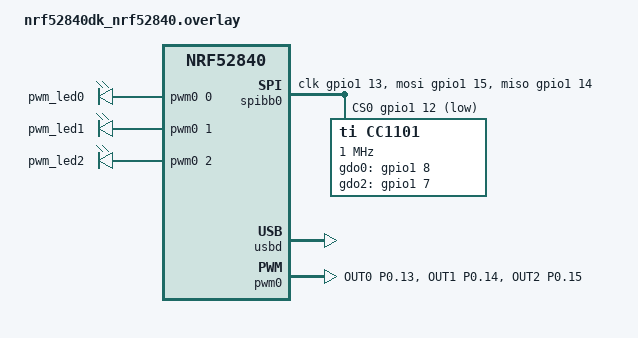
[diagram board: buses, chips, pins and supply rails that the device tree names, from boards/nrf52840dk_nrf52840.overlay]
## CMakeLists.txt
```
#
# SPDX-FileCopyrightText: Copyright 2023 Andreas Sandberg <andreas@sandberg.uk>
#
# SPDX-License-Identifier: Apache-2.0
#

cmake_minimum_required(VERSION 3.13.1)
find_package(Zephyr REQUIRED HINTS $ENV{ZEPHYR_BASE})

project(rfchameleon LANGUAGES C VERSION 0.1.0)

target_include_directories(app PRIVATE ${CMAKE_BINARY_DIR}/rfchameleon/include)
configure_file(version.h.in ${CMAKE_BINARY_DIR}/rfchameleon/include/rfchameleon/version.h)

add_subdirectory(src)
```

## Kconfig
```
#
# SPDX-FileCopyrightText: Copyright 2023 Andreas Sandberg <andreas@sandberg.uk>
#
# SPDX-License-Identifier: Apache-2.0
#

mainmenu "RF Chameleon options"

menu "RF Chameleon"

module = RFCH
module-str = RF Chameleon
source "subsys/logging/Kconfig.template.log_config"

rsource "src/Kconfig"

endmenu

menu "Zephyr"
source "Kconfig.zephyr"
endmenu
```

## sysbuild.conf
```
#
# SPDX-FileCopyrightText: Copyright 2023 Andreas Sandberg <andreas@sandberg.uk>
#
# SPDX-License-Identifier: Apache-2.0
#

SB_CONFIG_BOOTLOADER_MCUBOOT=y
SB_CONFIG_BOOT_SIGNATURE_TYPE_NONE=y
```

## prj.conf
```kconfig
#
# SPDX-FileCopyrightText: Copyright 2023 Andreas Sandberg <andreas@sandberg.uk>
#
# SPDX-License-Identifier: Apache-2.0
#

CONFIG_GPIO=y

CONFIG_LOG=y

CONFIG_SPI=y
CONFIG_LED=y

CONFIG_REBOOT=y

CONFIG_USB_DEVICE_STACK=y
CONFIG_USB_WORKQUEUE=y

CONFIG_USB_DEVICE_VID=0x1209
CONFIG_USB_DEVICE_PID=0x5F00
CONFIG_USB_DEVICE_MANUFACTURER="andreas.sandberg.uk"
CONFIG_USB_DEVICE_PRODUCT="RF Chameleon"
CONFIG_USB_SELF_POWERED=n
```

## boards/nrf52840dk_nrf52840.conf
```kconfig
#
# SPDX-FileCopyrightText: Copyright 2023 Andreas Sandberg <andreas@sandberg.uk>
#
# SPDX-License-Identifier: Apache-2.0
#

CONFIG_USB_NRFX=y
CONFIG_LOG_BACKEND_UART=n

CONFIG_SHELL=y

CONFIG_USB_COMPOSITE_DEVICE=y
CONFIG_USB_CDC_ACM=y

CONFIG_RFCH_CC1101=y
```

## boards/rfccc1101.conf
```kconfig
#
# SPDX-FileCopyrightText: Copyright 2023 Andreas Sandberg <andreas@sandberg.uk>
#
# SPDX-License-Identifier: Apache-2.0
#

CONFIG_PWM=y

CONFIG_LOG_BACKEND_SWO=y
CONFIG_LOG_BACKEND_UART=y

CONFIG_CONSOLE=y
CONFIG_UART_CONSOLE=y
CONFIG_SHELL=y
CONFIG_SHELL_BACKEND_SERIAL=y

CONFIG_USB_MAX_POWER=150

CONFIG_RETAINED_MEM=y
CONFIG_RETENTION=y
CONFIG_RETENTION_BOOT_MODE=y

CONFIG_MCUBOOT_BOOTLOADER_MODE_SINGLE_APP=y
CONFIG_RETENTION_BOOTLOADER_INFO=y
CONFIG_RETENTION_BOOTLOADER_INFO_TYPE_MCUBOOT=y
```

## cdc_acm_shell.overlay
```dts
/*
 * SPDX-FileCopyrightText: Copyright 2023 Andreas Sandberg <andreas@sandberg.uk>
 *
 * SPDX-License-Identifier: Apache-2.0
 */

/ {
	chosen {
		zephyr,console = &cdc_acm_uart;
		zephyr,shell-uart = &cdc_acm_uart;
	};
};

zephyr_udc0: &usbotg_fs {
	status = "okay";

	cdc_acm_uart: cdc_acm_uart {
		compatible = "zephyr,cdc-acm-uart";
		status = "okay";
	};
};
```

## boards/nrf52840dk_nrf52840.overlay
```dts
/*
 * SPDX-FileCopyrightText: Copyright 2023 Andreas Sandberg <andreas@sandberg.uk>
 *
 * SPDX-License-Identifier: Apache-2.0
 */

#define LED_PWM_PERIOD PWM_MSEC(20)

/delete-node/ &pwm_led0;

/ {
	chosen {
		rfmq,uart = &cdc_acm_uart;
	};

	aliases {
		led-status = &led_status;
		led-rx = &led_rx;
		led-tx = &led_tx;
	};

	led_status: pwm_led0 {
		compatible = "pwm-leds";
		status = "okay";

		pwm_led0: pwm_led_0 {
			pwms = <&pwm0 0 LED_PWM_PERIOD PWM_POLARITY_INVERTED>;
		};
	};

	led_rx: pwm_led1 {
		compatible = "pwm-leds";
		status = "okay";

		pwm_led1: pwm_led_1 {
			pwms = <&pwm0 1 LED_PWM_PERIOD PWM_POLARITY_INVERTED>;
		};
	};

	led_tx: pwm_led2 {
		compatible = "pwm-leds";
		status = "okay";

		pwm_led2: pwm_led_2 {
			pwms = <&pwm0 2 LED_PWM_PERIOD PWM_POLARITY_INVERTED>;
		};
	};
};

&usbd {
	status = "okay";

	cdc_acm_uart: cdc_acm_uart {
		compatible = "zephyr,cdc-acm-uart";
	};
};

&pinctrl {
	pwm0_leds_default: pwm0_led1_default {
		group1 {
			psels = <NRF_PSEL(PWM_OUT0, 0, 13)>,
			        <NRF_PSEL(PWM_OUT1, 0, 14)>,
			        <NRF_PSEL(PWM_OUT2, 0, 15)>;
			nordic,invert;
		};
	};

	pwm0_leds_sleep: pwm0_led1_sleep {
		group1 {
			psels = <NRF_PSEL(PWM_OUT0, 0, 13)>,
			        <NRF_PSEL(PWM_OUT1, 0, 14)>,
			        <NRF_PSEL(PWM_OUT2, 0, 15)>;
			low-power-enable;
		};
	};

	spi3_x_default: spi3_x_default {
		group1 {
			psels = <NRF_PSEL(SPIM_SCK, 1, 13)>,
			<NRF_PSEL(SPIM_MISO, 1, 14)>,
			<NRF_PSEL(SPIM_MOSI, 1, 15)>;
		};
	};

	spi3_x_sleep: spi3_x_sleep {
		group1 {
			psels = <NRF_PSEL(SPIM_SCK, 1, 13)>,
			<NRF_PSEL(SPIM_MISO, 1, 14)>,
			<NRF_PSEL(SPIM_MOSI, 1, 15)>;
			low-power-enable;
		};
	};
};

&pwm0 {
	status = "okay";
	pinctrl-0 = <&pwm0_leds_default>;
	pinctrl-1 = <&pwm0_leds_sleep>;
	pinctrl-names = "default", "sleep";
};

&spi3 {
	status = "disabled";
};

&spi2 {
	status = "disabled";

	pinctrl-0 = <&spi3_x_default>;
	pinctrl-1 = <&spi3_x_sleep>;
	pinctrl-names = "default", "sleep";
};

/ {
	spibb0: spibb0 {
		compatible = "zephyr,spi-bitbang";
		status = "okay";
		#address-cells = <1>;
		#size-cells = <0>;
		clk-gpios = <&gpio1 13 GPIO_ACTIVE_HIGH>;
		miso-gpios = <&gpio1 14 0>;
		mosi-gpios = <&gpio1 15 GPIO_ACTIVE_HIGH>;
	};
};

&spibb0 {
	cs-gpios = <&gpio1 12 GPIO_ACTIVE_LOW>;

	cc1101: cc1101@0 {
		compatible = "ti,cc1101";

		spi-max-frequency = <1000000>;
		reg = <0>;

		gdo0-gpios = <&gpio1 8 GPIO_ACTIVE_HIGH>;
		gdo2-gpios = <&gpio1 7 GPIO_ACTIVE_HIGH>;

		pktlen = <0xff>;

		/*
		 * RF Chameleon Chat
		 *
		 * Base freq: 868.1MHz (50.0 kHz channel spacing)
		 * Modulation: GFSK, 38.4 kb/s, 20.6 kHz deviation, whitening
		 */
		rf_cfg = [
			29 /* IOCFG2 (0x0000) */
			2E /* IOCFG1 (0x0001) */
			06 /* IOCFG0 (0x0002) */
			47 /* FIFOTHR (0x0003) */
			5f /* SYNC1 (0x0004) */
			ca /* SYNC0 (0x0005) */
			FF /* PKTLEN (0x0006) */
			04 /* PKTCTRL1 (0x0007) */
			45 /* PKTCTRL0 (0x0008) */
			00 /* ADDR (0x0009) */
			00 /* CHANNR (0x000A) */
			06 /* FSCTRL1 (0x000B) */
			00 /* FSCTRL0 (0x000C) */
			21 /* FREQ2 (0x000D) */
			63 /* FREQ1 (0x000E) */
			72 /* FREQ0 (0x000F) */
			CA /* MDMCFG4 (0x0010) */
			83 /* MDMCFG3 (0x0011) */
			17 /* MDMCFG2 (0x0012) */
			00 /* MDMCFG1 (0x0013) */
			F8 /* MDMCFG0 (0x0014) */
			35 /* DEVIATN (0x0015) */
			07 /* MCSM2 (0x0016) */
			30 /* MCSM1 (0x0017) */
			18 /* MCSM0 (0x0018) */
			16 /* FOCCFG (0x0019) */
			6C /* BSCFG (0x001A) */
			43 /* AGCCTRL2 (0x001B) */
			40 /* AGCCTRL1 (0x001C) */
			91 /* AGCCTRL0 (0x001D) */
			87 /* WOREVT1 (0x001E) */
			6B /* WOREVT0 (0x001F) */
			FB /* WORCTRL (0x0020) */
			56 /* FREND1 (0x0021) */
			10 /* FREND0 (0x0022) */
		];

		/* -6 dBm @ 868MHz, no ramping */
		patable = [ 37 ];
	};
};
```

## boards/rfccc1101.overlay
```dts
/*
 * SPDX-FileCopyrightText: Copyright 2023 Andreas Sandberg <andreas@sandberg.uk>
 *
 * SPDX-License-Identifier: Apache-2.0
 */

/ {
	aliases {
		led-status = &pwm_led_status;
		led-rx = &pwm_led_rx;
		led-tx = &pwm_led_tx;
	};


	zephyr,user {
		led-brightness = <20>;
	};
};

&led_status {
	status = "disabled";
};

&led_rx {
	status = "disabled";
};

&led_tx {
	status = "disabled";
};

&pwm_led_status {
	status = "okay";
};

&pwm_led_rx {
	status = "okay";
};

&pwm_led_tx {
	status = "okay";
};

&pwm2 {
	status = "okay";
};

&pwm3 {
	status = "okay";
};

&pwm4 {
	status = "okay";
};

&cc1101 {
	status = "okay";

	pktlen = <0x14>;

	/*
	 * RF Chameleon Chat
	 *
	 * Base freq: 868.1MHz (50.0 kHz channel spacing)
	 * Modulation: GFSK, 38.4 kb/s, 20.6 kHz deviation, whitening
	 */
	rf_cfg = [
		29 /* IOCFG2 (0x0000) */
		2E /* IOCFG1 (0x0001) */
		06 /* IOCFG0 (0x0002) */
		47 /* FIFOTHR (0x0003) */
		5f /* SYNC1 (0x0004) */
		ca /* SYNC0 (0x0005) */
		FF /* PKTLEN (0x0006) */
		04 /* PKTCTRL1 (0x0007) */
		45 /* PKTCTRL0 (0x0008) */
		00 /* ADDR (0x0009) */
		00 /* CHANNR (0x000A) */
		06 /* FSCTRL1 (0x000B) */
		00 /* FSCTRL0 (0x000C) */
		21 /* FREQ2 (0x000D) */
		63 /* FREQ1 (0x000E) */
		72 /* FREQ0 (0x000F) */
		CA /* MDMCFG4 (0x0010) */
		83 /* MDMCFG3 (0x0011) */
		17 /* MDMCFG2 (0x0012) */
		00 /* MDMCFG1 (0x0013) */
		F8 /* MDMCFG0 (0x0014) */
		35 /* DEVIATN (0x0015) */
		07 /* MCSM2 (0x0016) */
		32 /* MCSM1 (0x0017) */
		18 /* MCSM0 (0x0018) */
		16 /* FOCCFG (0x0019) */
		6C /* BSCFG (0x001A) */
		43 /* AGCCTRL2 (0x001B) */
		40 /* AGCCTRL1 (0x001C) */
		91 /* AGCCTRL0 (0x001D) */
		87 /* WOREVT1 (0x001E) */
		6B /* WOREVT0 (0x001F) */
		FB /* WORCTRL (0x0020) */
		56 /* FREND1 (0x0021) */
		10 /* FREND0 (0x0022) */
	];

	/* -6 dBm @ 868MHz, no ramping */
	patable = [ 37 ];
};
```

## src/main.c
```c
/*
 * SPDX-FileCopyrightText: Copyright 2023 Andreas Sandberg <andreas@sandberg.uk>
 *
 * SPDX-License-Identifier: Apache-2.0
 */

#include <zephyr/kernel.h>
#include <zephyr/logging/log.h>

#include "rfchameleon/version.h"

#if IS_ENABLED(CONFIG_RFCH_TRANSPORT_USB)
#include "gadget.h"
#endif

LOG_MODULE_REGISTER(main, CONFIG_RFCH_LOG_LEVEL);

int main()
{
	int ret;

#if IS_ENABLED(CONFIG_RFCH_TRANSPORT_USB)
	LOG_INF("Starting gadget interface...");
	ret = gadget_start();
	if (ret != 0) {
		LOG_ERR("Failed to start USB gadget interface: %d", ret);
	}
#endif

	LOG_INF("RF Chameleon " RFCHAMELEON_VERSION_STR
		" started on " CONFIG_ARCH);

	return 0;
}
```

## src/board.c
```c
/*
 * SPDX-FileCopyrightText: Copyright 2023-2024 Andreas Sandberg <andreas@sandberg.uk>
 *
 * SPDX-License-Identifier: Apache-2.0
 */

#include "board.h"

#include <stdlib.h>

#include <zephyr/device.h>
#include <zephyr/drivers/gpio.h>
#include <zephyr/drivers/led.h>
#include <zephyr/shell/shell.h>
#include <zephyr/logging/log_ctrl.h>
#include <zephyr/logging/log.h>

#if IS_ENABLED(CONFIG_RETENTION_BOOTLOADER_INFO_OUTPUT_FUNCTION)
#include <zephyr/retention/blinfo.h>
#include <bootutil/image.h>
#endif

#include "rfchameleon/version.h"

LOG_MODULE_REGISTER(board, CONFIG_RFCH_LOG_LEVEL);

#include "stm32_bootloader.h"

enum board_led_color {
	BOARD_LED_COLOR_MONO = 0,

	BOARD_LED_COLOR_RED = BOARD_LED_COLOR_MONO,
	BOARD_LED_COLOR_GREEN,
	BOARD_LED_COLOR_BLUE,

	BOARD_LED_COLOR_MAX = BOARD_LED_COLOR_BLUE,
};

struct board_led {
	const struct device *dev;
	int colors;
};

static struct board_led led_status = {
	.dev = DEVICE_DT_GET(DT_ALIAS(led_status)),
};

static struct board_led led_rx = {
	.dev = DEVICE_DT_GET(DT_ALIAS(led_rx)),
};

static struct board_led led_tx = {
	.dev = DEVICE_DT_GET(DT_ALIAS(led_tx)),
};

static const struct gpio_dt_spec gpio_variant[] = {
#if DT_NODE_EXISTS(DT_NODELABEL(sw_variant0))
	GPIO_DT_SPEC_GET(DT_NODELABEL(sw_variant0), gpios),
#endif
#if DT_NODE_EXISTS(DT_NODELABEL(sw_variant1))
	GPIO_DT_SPEC_GET(DT_NODELABEL(sw_variant1), gpios),
#endif
};

static uint8_t board_led_brightness =
	DT_PROP_OR(DT_PATH(zephyr_user), led_brightness, 100);
static uint32_t board_variant = 0;

static enum board_usb_state board_usb_state = BOARD_USB_STATE_DISCONNECTED;
static enum board_radio_state board_radio_state = BOARD_RADIO_STATE_IDLE;

static int board_usb_toggle = 0;
static int board_packet_toggle = 0;
static int board_packet_error = 0;

static int board_init_led(struct board_led *led)
{
	if (!device_is_ready(led->dev)) {
		return -ENODEV;
	}

	for (uint32_t i = 0; i <= BOARD_LED_COLOR_MAX; i++) {
		if (led_off(led->dev, i) != 0) {
			led->colors = i;
			return led->colors;
		}
	}
	led->colors = BOARD_LED_COLOR_MAX + 1;
	return led->colors;
}

static void board_test_led(const struct board_led *led)
{
	for (int i = 0; i < led->colors; i++) {
		for (int j = 0; j <= 100; j += 10) {
			led_set_brightness(led->dev, i, j);
			k_sleep(K_MSEC(5));
		}
		for (int j = 100; j >= 0; j -= 10) {
			led_set_brightness(led->dev, i, j);
			k_sleep(K_MSEC(5));
		}
		led_off(led->dev, i);
	}
}

static void board_led_on(const struct board_led *led,
			 enum board_led_color color)
{
	if (color >= led->colors)
		return;

	led_set_brightness(led->dev, color, board_led_brightness);
}

static void board_led_off(const struct board_led *led)
{
	for (uint32_t i = 0; i <= led->colors; i++) {
		led_off(led->dev, i);
	}
}

static void board_leds_off()
{
	board_led_off(&led_status);
	board_led_off(&led_rx);
	board_led_off(&led_tx);
}

static void board_set_error(enum board_error_codes error)
{
	board_leds_off();

	if (error & 1) {
		board_led_on(&led_tx, BOARD_LED_COLOR_MONO);
	}

	if (error & 2) {
		board_led_on(&led_rx, BOARD_LED_COLOR_MONO);
	}
}

static int board_test_quick()
{
	board_test_led(&led_status);
	board_test_led(&led_rx);
	board_test_led(&led_tx);

	return 0;
}

static void board_update_leds_rgb()
{
	enum board_led_color usb_led_color =
		board_usb_toggle ? BOARD_LED_COLOR_BLUE : BOARD_LED_COLOR_GREEN;
	enum board_led_color rf_led_color = (
		board_packet_error ? BOARD_LED_COLOR_RED :
		(board_packet_toggle ?
		 BOARD_LED_COLOR_BLUE : BOARD_LED_COLOR_GREEN));

	board_led_off(&led_status);
	board_led_off(&led_rx);
	board_led_off(&led_tx);

	switch (board_usb_state) {
	case BOARD_USB_STATE_DISCONNECTED:
		break;

	case BOARD_USB_STATE_CONNECTED:
	case BOARD_USB_STATE_DRIVER:
		board_led_on(&led_status, usb_led_color);
		break;

	default:
		LOG_ERR("Invalid USB state: %i", board_usb_state);
		abort();
	}

	switch (board_radio_state) {
	case BOARD_RADIO_STATE_IDLE:
		break;

	case BOARD_RADIO_STATE_RX:
		board_led_on(&led_rx, rf_led_color);
		break;

	case BOARD_RADIO_STATE_TX:
		board_led_on(&led_tx, rf_led_color);
		break;

	case BOARD_RADIO_STATE_ERROR:
		board_led_on(&led_tx, BOARD_LED_COLOR_RED);
		board_led_on(&led_rx, BOARD_LED_COLOR_RED);
		break;

	default:
		LOG_ERR("Invalid radio state: %i", board_usb_state);
		abort();
	};
}

static void board_update_leds_mono()
{
	switch (board_usb_state) {
	case BOARD_USB_STATE_DISCONNECTED:
		board_led_off(&led_status);
		break;

	case BOARD_USB_STATE_CONNECTED:
	case BOARD_USB_STATE_DRIVER:
		board_led_on(&led_status, BOARD_LED_COLOR_MONO);
		break;

	default:
		LOG_ERR("Invalid USB state: %i", board_usb_state);
		abort();
	}

	switch (board_radio_state) {
	case BOARD_RADIO_STATE_IDLE:
		board_led_off(&led_rx);
		board_led_off(&led_tx);
		break;

	case BOARD_RADIO_STATE_RX:
		board_led_on(&led_rx, BOARD_LED_COLOR_MONO);
		board_led_off(&led_tx);
		break;

	case BOARD_RADIO_STATE_TX:
		board_led_off(&led_rx);
		board_led_on(&led_tx, BOARD_LED_COLOR_MONO);
		break;

	case BOARD_RADIO_STATE_ERROR:
		board_led_on(&led_rx, BOARD_LED_COLOR_MONO);
		board_led_on(&led_tx, BOARD_LED_COLOR_MONO);
		break;

	default:
		LOG_ERR("Invalid radio state: %i", board_usb_state);
		abort();
	};
}

static void board_update_leds()
{
	if (led_status.colors == 3 ||
	    led_rx.colors == 3 ||
	    led_tx.colors == 3) {
		board_update_leds_rgb();
	} else {
		board_update_leds_mono();
	}
}

static int board_update_variant()
{
	int rc;
	uint32_t value = 0;

	for (int i = 0; i < ARRAY_SIZE(gpio_variant); i++) {
		if (!gpio_is_ready_dt(&gpio_variant[i])) {
			LOG_ERR("Variant %i: GPIO not ready.", i);
			return -EINVAL;
		}

		rc = gpio_pin_configure_dt(&gpio_variant[i], GPIO_INPUT);
		if (rc < 0) {
			LOG_ERR("Variant %i: Failed to configure as input: %i",
				i, rc);
			return -EINVAL;
		}

		rc = gpio_pin_get_dt(&gpio_variant[i]);
		if (rc < 0) {
			LOG_ERR("Variant %i: Failed to get value: %i", i, rc);
			return -EINVAL;
		}

		if (rc)
			value |= BIT(i);

		rc = gpio_pin_configure_dt(&gpio_variant[i], GPIO_DISCONNECTED);
		if (rc < 0) {
			LOG_WRN("Variant %i: Failed to disconnect GPIO: %i",
				i, rc);
		}
	}

	board_variant = value;

	return 0;
}

void board_set_radio_state(enum board_radio_state state)
{
	board_radio_state = state;
	board_packet_error = 0;
	board_packet_toggle = 0;
	board_update_leds();
}

void board_radio_packet()
{
	board_packet_error = 0;
	board_packet_toggle = !board_packet_toggle;
	board_update_leds();
}

void board_radio_packet_error()
{
	board_packet_toggle = 0;
	board_packet_error = 1;
	board_update_leds();
}

void board_set_usb_state(enum board_usb_state state)
{
	board_usb_toggle = 0;
	board_usb_state = state;
	board_update_leds();
}

void board_usb_activity()
{
	board_usb_toggle = !board_usb_toggle;
	board_update_leds();
}

#if BOARD_HAVE_ROM_BOOTLOADER
FUNC_NORETURN void board_enter_rom_bootloader()
{
	stm32_reboot_bootloader();
}
#endif

void k_sys_fatal_error_handler(unsigned int reason, const z_arch_esf_t *esf)
{
	LOG_PANIC();
	LOG_ERR("Halting system");

	board_set_error(BOARD_ERROR_PANIC);

	while (1) {
		led_on(led_status.dev, 0);
		k_busy_wait(500000);
		led_off(led_status.dev, 0);
		k_busy_wait(500000);
	}
}

static int board_init()
{
	if (board_init_led(&led_status) < 0) {
		LOG_WRN("Status LED not ready.");
	}

	if (board_init_led(&led_rx) < 0) {
		LOG_WRN("RX LED not ready.");
	}

	if (board_init_led(&led_tx) < 0) {
		LOG_WRN("TX LED not ready.");
	}

	if (board_update_variant() < 0) {
		LOG_WRN("Failed to get board variant information.");
	} else {
		LOG_INF("Board variant: 0x%" PRIx32, board_variant);
	}

	board_test_quick();

	return 0;
}

SYS_INIT(board_init, APPLICATION, 0);

#if IS_ENABLED(CONFIG_SHELL)
static int cmd_board_test(const struct shell *sh, size_t argc, char **argv)
{
	return board_test_quick();
}

#if IS_ENABLED(CONFIG_RETENTION_BOOTLOADER_INFO_OUTPUT_FUNCTION)
static void print_bootloader_info(const struct shell *sh)
{
	struct image_version version;
	int rc;
	memset(&version, 0, sizeof(version));
	rc = blinfo_lookup(BLINFO_BOOTLOADER_VERSION,
			   (void *)&version, sizeof(version));
	if (rc != sizeof(version)) {
		shell_print(sh, "Failed to get boot loader version: %i",
			    rc);
	} else {
		shell_print(sh, "Bootloader version: %i.%i.%i build %i\n",
			    (int)version.iv_major,
			    (int)version.iv_minor,
			    (int)version.iv_revision,
			    (int)version.iv_build_num);
	}
}
#else
static void print_bootloader_info(const struct shell *sh)
{
}
#endif

static int cmd_board_info(const struct shell *sh, size_t argc, char **argv)
{
	static const char board_compatible[] = DT_PROP(DT_ROOT, compatible);

	shell_print(sh, "RF Chameleon " RFCHAMELEON_VERSION_STR);
	shell_print(sh, "Board type: %s", board_compatible);
	shell_print(sh, "Board variant bits: %i", ARRAY_SIZE(gpio_variant));
	shell_print(sh, "Board variant: 0x%" PRIx32, board_variant);

	print_bootloader_info(sh);

	return 0;
}

SHELL_STATIC_SUBCMD_SET_CREATE(sub_board,
	SHELL_CMD_ARG(test, NULL,
		      "Run board tests\n",
		      cmd_board_test,
		      0, 0),
	SHELL_CMD_ARG(info, NULL,
		      "Show board information\n",
		      cmd_board_info,
		      0, 0),
	SHELL_SUBCMD_SET_END
);

SHELL_CMD_REGISTER(board, &sub_board, "Board specific commands", NULL);

#endif
```

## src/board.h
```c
/*
 * SPDX-FileCopyrightText: Copyright 2023 Andreas Sandberg <andreas@sandberg.uk>
 *
 * SPDX-License-Identifier: Apache-2.0
 */

#ifndef RFCHAMELEON_BOARD_H_
#define RFCHAMELEON_BOARD_H_

#include <zephyr/kernel.h>

enum board_radio_state {
	BOARD_RADIO_STATE_IDLE = 0,
	BOARD_RADIO_STATE_RX,
	BOARD_RADIO_STATE_TX,
	BOARD_RADIO_STATE_ERROR,
};

enum board_usb_state {
	BOARD_USB_STATE_DISCONNECTED = 0,
	BOARD_USB_STATE_CONNECTED,
	BOARD_USB_STATE_DRIVER,
};

enum board_error_codes {
	BOARD_ERROR_PANIC = 0,
};

extern void board_set_radio_state(enum board_radio_state state);
extern void board_radio_packet();
extern void board_radio_packet_error();
extern void board_set_usb_state(enum board_usb_state state);
extern void board_usb_activity();

#endif /* RFCHAMELEON_GADGET_H_ */
```

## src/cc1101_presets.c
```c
/*
 * SPDX-FileCopyrightText: Copyright 2023-2024 Andreas Sandberg <andreas@sandberg.uk>
 *
 * SPDX-License-Identifier: Apache-2.0
 */

#include "cc1101_presets.h"

/*
 * RF Chameleon Chat
 *
 * Base freq: 868.1MHz (50.0 kHz channel spacing)
 * Modulation: GFSK, 38.4 kb/s, 20.6 kHz deviation, whitening
 *
 */
const struct cc1101_modem_config rfcfg_cc1101_rfch_chat = {
	.sync = {0x5f, 0xca},
	.pktlen = 0xff,
	.pktctrl = {0x04, 0x45},
	.addr = 0x00,
	.channr = 0x00,
	.fsctrl = {0x06, 0x00},
	.freq = {0x21, 0x63, 0x72},
	.mdmcfg = {0xca, 0x83, 0x17, 0x00, 0xf8 },
	.deviatn = 0x35,
};
```

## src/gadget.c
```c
/*
 * SPDX-FileCopyrightText: Copyright 2023-2024 Andreas Sandberg <andreas@sandberg.uk>
 *
 * SPDX-License-Identifier: Apache-2.0
 */

#include "gadget.h"

#include <zephyr/logging/log.h>
LOG_MODULE_REGISTER(gadget, CONFIG_RFCH_LOG_LEVEL);

#include <zephyr/kernel.h>
#include <zephyr/usb/usb_device.h>

#include <usb_descriptor.h>

#include "transport.h"

static enum usb_dc_status_code usb_status = USB_DC_UNKNOWN;

#define USB_BULK_MAX_PACKET_SIZE 64

#define RFCH_EP_IN_IDX 0

USBD_CLASS_DESCR_DEFINE(primary, 0) struct {
	struct usb_if_descriptor if0;
	struct usb_ep_descriptor if0_in_ep;
} __packed rfch_usb_desc = {
	.if0 = {
		.bLength = sizeof(struct usb_if_descriptor),
		.bDescriptorType = USB_DESC_INTERFACE,
		.bInterfaceNumber = 0,
		.bAlternateSetting = 0,
		.bNumEndpoints = 1,
		.bInterfaceClass = USB_BCC_VENDOR,
		.bInterfaceSubClass = 0,
		.bInterfaceProtocol = 0,
		.iInterface = 0,
	},
	.if0_in_ep = {
		.bLength = sizeof(struct usb_ep_descriptor),
		.bDescriptorType = USB_DESC_ENDPOINT,
		.bEndpointAddress = AUTO_EP_IN,
		.bmAttributes = USB_DC_EP_BULK,
		.wMaxPacketSize = sys_cpu_to_le16(USB_BULK_MAX_PACKET_SIZE),
		.bInterval = 0,
	},
};

static struct usb_ep_cfg_data rfch_usb_ep[] = {
	{ .ep_cb = usb_transfer_ep_callback, .ep_addr = AUTO_EP_IN },
};

static void rfch_usb_status_cb(struct usb_cfg_data *cfg,
			     enum usb_dc_status_code status,
			     const uint8_t *param)
{
	ARG_UNUSED(param);
	ARG_UNUSED(cfg);

	/* Check the USB status and do needed action if required */
	switch (status) {
	case USB_DC_ERROR:
		LOG_DBG("USB device error");
		break;
	case USB_DC_RESET:
		LOG_DBG("USB device reset detected");
		transport_reset();
		break;
	case USB_DC_CONNECTED:
		LOG_DBG("USB device connected");
		break;
	case USB_DC_CONFIGURED:
		LOG_DBG("USB device configured");
		transport_reset();
		break;
	case USB_DC_DISCONNECTED:
		LOG_DBG("USB device disconnected");
		break;
	case USB_DC_SUSPEND:
		LOG_DBG("USB device suspended");
		break;
	case USB_DC_RESUME:
		LOG_DBG("USB device resumed");
		break;
	case USB_DC_UNKNOWN:
	default:
		LOG_DBG("USB unknown state");
		break;
	}
}

static int rfch_usb_vendor_handle_to_host(struct usb_setup_packet *setup,
					  int32_t *len, uint8_t **data)
{
	const enum rfch_request req = setup->bRequest;
	const uint16_t value = setup->wValue;
	int ret;

	ret = transport_handle_get(req, value,
				   (const uint8_t **)data, setup->wLength);
	if (ret < 0)
		return ret;

	*len = ret;
	return 0;
}

static int rfch_usb_vendor_handle_to_dev(struct usb_setup_packet *setup,
					 int32_t *len, uint8_t **data)
{
	const enum rfch_request req = setup->bRequest;
	int ret;

	if (!data || !len)
		return -EINVAL;

	ret = transport_handle_set(req, sys_le16_to_cpu(setup->wValue),
				   *data, *len);

	return ret < 0 ? ret : 0;
}

/**
 * Vendor handler is executed in the ISR context
 */
static int rfch_usb_vendor_handler(struct usb_setup_packet *setup,
				 int32_t *len, uint8_t **data)
{
	LOG_DBG("Vendor request:"
		" bRequest: 0x%" PRIx8
		" bmRequestType: 0x%" PRIx8
		" wIndex: 0x%" PRIx16
		" wValue: 0x%" PRIx16,
		setup->bRequest, setup->bmRequestType,
		setup->wIndex, setup->wValue);

	if (setup->RequestType.recipient != USB_REQTYPE_RECIPIENT_INTERFACE) {
		return -ENOTSUP;
	}

	if (usb_reqtype_is_to_host(setup)) {
		return rfch_usb_vendor_handle_to_host(setup, len, data);
	} else {
		return rfch_usb_vendor_handle_to_dev(setup, len, data);
	}
}

USBD_DEFINE_CFG_DATA(rfch_usb_config) = {
	.usb_device_description = NULL,
	.interface_descriptor = &rfch_usb_desc.if0,
	.cb_usb_status = rfch_usb_status_cb,
	.interface = {
		.class_handler = NULL,
		.vendor_handler = rfch_usb_vendor_handler,
		.custom_handler = NULL,
	},
	.num_endpoints = ARRAY_SIZE(rfch_usb_ep),
	.endpoint = rfch_usb_ep,
};

static void status_cb(enum usb_dc_status_code status, const uint8_t *param)
{
	LOG_DBG("USB status change: %d -> %d", usb_status, status);
	usb_status = status;
}

int transport_impl_rx(const uint8_t *data, size_t size)
{
	uint8_t ep;

	ep = rfch_usb_config.endpoint[RFCH_EP_IN_IDX].ep_addr;

	return usb_transfer_sync(ep, (void *)data, size, USB_TRANS_WRITE);
}

int gadget_start()
{
	int ret;

	ret = transport_init();
	if (ret != 0) {
		LOG_ERR("Failed to initialize transport: %d", ret);
		return ret;
	}

	ret = usb_enable(status_cb);
	if (ret != 0) {
		LOG_ERR("Failed to enable USB: %d", ret);
		return ret;
	}

	LOG_DBG("usb initialized");

	return 0;
}
```

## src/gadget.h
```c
/*
 * SPDX-FileCopyrightText: Copyright 2023 Andreas Sandberg <andreas@sandberg.uk>
 *
 * SPDX-License-Identifier: Apache-2.0
 */

#ifndef RFCHAMELEON_GADGET_H_
#define RFCHAMELEON_GADGET_H_

#include <zephyr/kernel.h>
#include <zephyr/usb/usb_device.h>

#define RFCH_MAX_PACKET_SIZE (CONFIG_RFCH_CC1101_MAX_PKT_SIZE + 2)

struct rfch_packet {
	void *fifo_reserved;
	union {
		struct {
			uint8_t request;
			uint16_t value;
		} req;
		struct {
		} rx;
	} u;
	uint16_t length;
	uint8_t data[RFCH_MAX_PACKET_SIZE];
};

extern int gadget_start();

#endif /* RFCHAMELEON_GADGET_H_ */
```

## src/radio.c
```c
/*
 * SPDX-FileCopyrightText: Copyright 2023-2024 Andreas Sandberg <andreas@sandberg.uk>
 *
 * SPDX-License-Identifier: Apache-2.0
 */

#include "radio.h"

#include <zephyr/logging/log.h>

#include <radio/cc1101.h>

#include "board.h"
#include "uuids.h"
#include "cc1101_presets.h"
#include "transport.h"

LOG_MODULE_REGISTER(radio, CONFIG_RFCH_LOG_LEVEL);

struct radio_config {
	struct rfch_radio_preset preset;
	const struct cc1101_modem_config *cc1101;
};

static const struct device *dev_cc1101 =
	DEVICE_DT_GET(DT_COMPAT_GET_ANY_STATUS_OKAY(ti_cc1101));

static const struct radio_config radio_configs[] = {
	{
		/* RF Chameleon Chat */
		.preset = {
			.uuid = UUID_PRE_RFCH_CHAT,
			.packet_size = sys_cpu_to_le16(255),
			.rx_meta_size = 0x2,
		},
		.cc1101 = &rfcfg_cc1101_rfch_chat,
	},
};

static const struct radio_config *radio_active_config = NULL;
static enum rfch_radio_state radio_state = RFCH_RADIO_STATE_IDLE;

static void on_rx(const struct device *dev, const uint8_t *data, uint8_t size,
		  void *user)
{
	transport_on_radio_rx(data, size);
}

int radio_validate_preset(uint16_t index)
{
	const struct radio_config *config;

	if (index < 0 || index >= ARRAY_SIZE(radio_configs)) {
		LOG_ERR("Invalid radio preset: %d", index);
		return -EINVAL;
	}

	config = &radio_configs[index];
	if (!config->cc1101) {
		LOG_ERR("Radio preset has invalid CC1101 config: %d",
			index);
		return -EINVAL;
	}

	return 0;
}

int radio_get_active_preset()
{
	if (radio_active_config)
		return radio_active_config - radio_configs;

	return -EINVAL;
}

int radio_set_active_preset(uint16_t index)
{
	const struct radio_config *config;
	int ret;

	ret = radio_validate_preset(index);
	if (ret < 0) {
		return ret;
	}

	config = &radio_configs[index];

	LOG_INF("Activating radio preset %d", index);
	ret = cc1101_set_modem_config(dev_cc1101, config->cc1101);
	if (ret < 0) {
		LOG_ERR("Failed to set radio modem config: %d", ret);
		radio_active_config = NULL;
		return ret;
	}

	radio_active_config = config;

	return 0;
}

int radio_get_preset(uint16_t index, const uint8_t **data)
{
	const struct radio_config *config;

	if (!data)
		return -EINVAL;

	if (index >= ARRAY_SIZE(radio_configs))
		return -ENOTSUP;

	config = &radio_configs[index];
	*data = (const uint8_t *)&config->preset;

	return sizeof(config->preset);
}

int radio_get_state()
{
	return radio_state;
}

int _radio_set_state(enum rfch_radio_state state)
{
	int ret;

	radio_state = state;

	switch (state) {
	case RFCH_RADIO_STATE_IDLE:
		ret = cc1101_set_state(dev_cc1101, CC1101_STATE_IDLE);
		if (ret < 0) {
			LOG_WRN("Failed to enter IDLE state: %d", ret);
			_radio_set_state(RFCH_RADIO_STATE_ERROR);
		} else {
			board_set_radio_state(BOARD_RADIO_STATE_IDLE);
		}
		return ret;

	case RFCH_RADIO_STATE_RX:
		ret = cc1101_set_state(dev_cc1101, CC1101_STATE_RX);
		if (ret < 0) {
			LOG_WRN("Failed to enter RX state: %d", ret);
			_radio_set_state(RFCH_RADIO_STATE_ERROR);
		} else {
			board_set_radio_state(BOARD_RADIO_STATE_RX);
		}
		return ret;

	case RFCH_RADIO_STATE_TX:
		board_set_radio_state(BOARD_RADIO_STATE_TX);
		return 0;

	case RFCH_RADIO_STATE_ERROR:
		board_set_radio_state(BOARD_RADIO_STATE_ERROR);
		return 0;

	default:
		_radio_set_state(RFCH_RADIO_STATE_ERROR);
		return -EINVAL;
	};

	return 0;
}


int radio_can_set_state(uint16_t state)
{
	switch (state) {
	case RFCH_RADIO_STATE_IDLE:
	case RFCH_RADIO_STATE_RX:
		return 0;

	case RFCH_RADIO_STATE_TX:
		/* The TX state is entered by transmitting a packet. */
		return -EINVAL;

	case RFCH_RADIO_STATE_ERROR:
		/* The error state can't be entered by software. */
		return -EINVAL;

	default:
		LOG_ERR("Unexpected state: %d", (int)state);
		return -EINVAL;
	}
}

int radio_set_state(uint16_t state)
{
	int ret = radio_can_set_state(state);

	if (ret != 0)
               return ret;

	if (radio_state != state)
		return _radio_set_state(state);

	return 0;
}


int radio_tx(const uint8_t *data, size_t size, int repeats)
{
	int ret;

	_radio_set_state(RFCH_RADIO_STATE_TX);

	ret = cc1101_send(dev_cc1101, data, size, repeats);
	if (ret < 0) {
		LOG_WRN("Send operation failed: %d", ret);
		_radio_set_state(RFCH_RADIO_STATE_ERROR);
		return ret;
	}

	_radio_set_state(RFCH_RADIO_STATE_IDLE);

	return 0;
}

int radio_init()
{
	int ret;

	ret = cc1101_set_recv_callback(dev_cc1101, on_rx, NULL);
	if (ret < 0) {
		LOG_ERR("Failed to set radio callback: %d", ret);
		return ret;
	}

	return 0;
}

int radio_reset()
{
	LOG_DBG("Resetting radio state");

	radio_set_state(RFCH_RADIO_STATE_IDLE);
	radio_active_config = NULL;

	return 0;
}
```

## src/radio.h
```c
/*
 * SPDX-FileCopyrightText: Copyright 2023-2024 Andreas Sandberg <andreas@sandberg.uk>
 *
 * SPDX-License-Identifier: Apache-2.0
 */

#ifndef RFCHAMELEON_RADIO_H_
#define RFCHAMELEON_RADIO_H_

#include <stddef.h>
#include <stdint.h>

extern int radio_init();
extern int radio_reset();

extern int radio_get_preset(uint16_t index, const uint8_t **data);
extern int radio_validate_preset(uint16_t index);

extern int radio_get_state();
extern int radio_can_set_state(uint16_t state);
extern int radio_set_state(uint16_t state);

extern int radio_get_active_preset();
extern int radio_set_active_preset(uint16_t index);

extern int radio_tx(const uint8_t *data, size_t size, int repeats);

#endif /* RFCHAMELEON_RADIO_H_ */
```

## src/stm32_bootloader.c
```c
/*
 * SPDX-FileCopyrightText: Copyright 2024 Andreas Sandberg <andreas@sandberg.uk>
 *
 * SPDX-License-Identifier: Apache-2.0
 */

#include <zephyr/kernel.h>
#include <zephyr/init.h>
#include <zephyr/sys/reboot.h>

#include "stm32_bootloader.h"

struct boot_vtab {
	uint32_t initial_sp;
	void (*reset)();
};

#if IS_ENABLED(CONFIG_SOC_STM32F401XC)
#define BOOTLOADER_MAGIC 0xB350C929UL
#else
#error Unsupported SoC
#endif

static uint32_t bootloader_flag __attribute__((noinit));

static void enter_bootloader()
{
	const struct boot_vtab *sysmem_vtab = (const struct boot_vtab *)0x1FFF0000;

	/*
	 * Zephyr sets the BASEPRI register early at boot. Reset it to
	 * 0 to avoid interrupt issues in the bootloader (USB won't
	 * work without this).
	 */
	__set_BASEPRI(0);

	__set_MSP(sysmem_vtab->initial_sp);

	__DSB();

	__enable_irq();
	sysmem_vtab->reset();
}

static int early_bootloader()
{
	if (bootloader_flag == BOOTLOADER_MAGIC) {
		bootloader_flag = 0;
		enter_bootloader();
	}

	return 0;
}

FUNC_NORETURN void stm32_reboot_bootloader()
{
	bootloader_flag = BOOTLOADER_MAGIC;
	sys_reboot(SYS_REBOOT_COLD);
}

SYS_INIT(early_bootloader, EARLY, 0);
```

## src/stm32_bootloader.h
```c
/*
 * SPDX-FileCopyrightText: Copyright 2023 Andreas Sandberg <andreas@sandberg.uk>
 *
 * SPDX-License-Identifier: Apache-2.0
 */

#ifndef RFCHAMELEON_STM32_BOOTLOADER_H_
#define RFCHAMELEON_STM32_BOOTLOADER_H_

extern FUNC_NORETURN void stm32_reboot_bootloader();

#endif /* RFCHAMELEON_STM32_BOOTLOADER_H_ */
```

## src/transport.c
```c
/*
 * SPDX-FileCopyrightText: Copyright 2023-2024 Andreas Sandberg <andreas@sandberg.uk>
 *
 * SPDX-License-Identifier: Apache-2.0
 */

#include "transport.h"

#include <zephyr/logging/log.h>
#include <zephyr/sys/reboot.h>

#include "uuids.h"
#include "board.h"
#include "radio.h"

LOG_MODULE_REGISTER(transport, CONFIG_RFCH_LOG_LEVEL);

#define RFCH_MAX_PACKET_SIZE (CONFIG_RFCH_CC1101_MAX_PKT_SIZE + 2)

struct rfch_packet {
	void *fifo_reserved;
	union {
		struct {
			uint8_t request;
			uint16_t value;
		} req;
		struct {
		} rx;
	} u;
	uint16_t length;
	uint8_t data[RFCH_MAX_PACKET_SIZE];
};

static const struct rfch_fw_version_info desc_fw_version_info[] = {
	{
		.uuid = UUID_RFCH_FW,
		.major = sys_cpu_to_le16(0),
		.minor = sys_cpu_to_le16(2),
	},
};

static const struct rfch_bootloader_info desc_bootloader_info[] = {
	[ RFCH_BL_REBOOT ] = { 1, },
	[ RFCH_BL_ROM ] = { BOARD_HAVE_ROM_BOOTLOADER, },
	[ RFCH_BL_MCUBOOT ] = { 0, },
};

K_MEM_SLAB_DEFINE_STATIC(
	packet_slab,
	sizeof(struct rfch_packet),
	CONFIG_RFCH_TRANSPORT_SLAB,
	4);

K_FIFO_DEFINE(request_fifo);
K_FIFO_DEFINE(rx_fifo);

static int transport_execute_set(enum rfch_request req, uint16_t value,
				 const uint8_t *data, size_t size);


static int enter_bootloader(enum rfch_bootloader_type type)
{
	/* Sleep for a few milliseconds to give the driver a chance to
	 * disconnect. */
	k_sleep(K_MSEC(100));

	switch (type) {
	case RFCH_BL_REBOOT:
		sys_reboot(SYS_REBOOT_COLD);
		break;
#if BOARD_HAVE_ROM_BOOTLOADER
	case RFCH_BL_ROM:
		board_enter_rom_bootloader();
		break;
#endif
	default:
		return -EINVAL;
	}

	return 0;
}

static void handle_fifo_req()
{
	struct rfch_packet *req;
	int ret;

	LOG_DBG("");
	req = k_fifo_get(&request_fifo, K_NO_WAIT);
	if (!req) {
		LOG_ERR("No pending data in request FIFO.");
		return;
	}

	LOG_DBG("Request: 0x%" PRIx8 " Value: 0x%" PRIx16,
		req->u.req.request, req->u.req.value);

	ret = transport_execute_set(req->u.req.request, req->u.req.value,
				    req->data, req->length);

	k_mem_slab_free(&packet_slab, req);
}


static void handle_fifo_rx()
{
	struct rfch_packet *req;
	int ret;

	LOG_DBG("");
	req = k_fifo_get(&rx_fifo, K_NO_WAIT);
	if (!req) {
		LOG_ERR("No pending data in RX FIFO.");
		return;
	}

	ret = transport_impl_rx(req->data, req->length);
	if (ret != req->length) {
		LOG_ERR("Transfer failure: %d", ret);
	}

	k_mem_slab_free(&packet_slab, req);
}


static void transport_main(void *, void *, void *)
{
	static struct k_poll_event events[] = {
		K_POLL_EVENT_STATIC_INITIALIZER(K_POLL_TYPE_FIFO_DATA_AVAILABLE,
						K_POLL_MODE_NOTIFY_ONLY,
						&request_fifo, 0),
		K_POLL_EVENT_STATIC_INITIALIZER(K_POLL_TYPE_FIFO_DATA_AVAILABLE,
						K_POLL_MODE_NOTIFY_ONLY,
						&rx_fifo, 0),
	};
	int ret;
	int i;

	LOG_DBG("Transport thread started");

	while (1) {
		ret = k_poll(events, ARRAY_SIZE(events), K_FOREVER);
		if (ret < 0) {
			LOG_WRN("Poll failed: %d", ret);
			continue;
		}

		if (events[0].state == K_POLL_STATE_FIFO_DATA_AVAILABLE) {
			/* Incoming request */
			handle_fifo_req();
		}

		if (events[1].state == K_POLL_STATE_FIFO_DATA_AVAILABLE) {
			/* Received packet from radio */
			handle_fifo_rx();
		}

		for (i = 0; i < ARRAY_SIZE(events); i++) {
			events[i].state = K_POLL_STATE_NOT_READY;
		}
	}
}

K_THREAD_DEFINE(transport_thread,
		CONFIG_RFCH_TRANSPORT_STACK_SIZE,
		transport_main, NULL, NULL, NULL,
		-1, K_ESSENTIAL, 0);

int transport_init()
{
	return radio_init();
}

int transport_reset()
{
	LOG_DBG("Resetting transport state");

	return radio_reset();
}


static int get_desc(const uint8_t **data, const void *desc, size_t size)
{
	if (!data || !desc)
		return -EINVAL;

	*data = desc;
	return size;
}

int transport_handle_get(enum rfch_request req, uint16_t value,
			 const uint8_t **data, size_t size)
{
#define RETURN_DESC_ARRAY(n)						\
	return get_desc((const uint8_t **)data,				\
			value < ARRAY_SIZE((n)) ? &(n)[value] : NULL,   \
			MIN(sizeof(n[0]), size))

	switch (req) {
	case RFCH_REQ_GET_FW_VERSION:
		RETURN_DESC_ARRAY(desc_fw_version_info);

	case RFCH_REQ_BOOTLOADER:
		RETURN_DESC_ARRAY(desc_bootloader_info);

	case RFCH_REQ_GET_RADIO_PRESET:
		return radio_get_preset(value, data);

	default:
		return -ENOTSUP;
	}

#undef RETURN_DESC_ARRAY
}


static int transport_validate_set(enum rfch_request req, uint16_t value,
				  const uint8_t *data, size_t size)
{
	switch (req) {
	case RFCH_REQ_BOOTLOADER:
		if (value >= ARRAY_SIZE(desc_bootloader_info) ||
		    !desc_bootloader_info[value].available)
			return -ENOTSUP;
		return 0;

	case RFCH_REQ_TX:
		return radio_can_tx(data, size, value);

	case RFCH_REQ_SET_RX:
		if (value != 0 && value != 1)
			return -ENOTSUP;
		return 0;

	case RFCH_REQ_PRESET_RX:
	case RFCH_REQ_ACTIVATE_RADIO_PRESET:
		return radio_validate_preset(value);
		break;

	default:
		return -ENOTSUP;
	}
}

static int transport_execute_set(enum rfch_request req, uint16_t value,
				 const uint8_t *data, size_t size)
{
	int ret;

	switch (req) {
	case RFCH_REQ_BOOTLOADER:
		ret = enter_bootloader(value);
		if (ret < 0) {
			LOG_ERR("Failed to enter bootloader: %d", ret);
		}
		return ret;

	case RFCH_REQ_SET_RX:
		return radio_set_state(
			value ? RFCH_RADIO_STATE_RX : RFCH_RADIO_STATE_IDLE);

	case RFCH_REQ_PRESET_RX:
		ret = radio_set_active_preset(value);
		if (ret < 0) {
			LOG_WRN("Failed to activate preset: %d", ret);
			board_set_radio_state(BOARD_RADIO_STATE_ERROR);
			return ret;
		}
		return radio_set_state(RFCH_RADIO_STATE_RX);

	case RFCH_REQ_TX:
		return radio_tx(data, size, value);

	case RFCH_REQ_ACTIVATE_RADIO_PRESET:
		ret = radio_set_active_preset(value);
		if (ret < 0) {
			LOG_WRN("Failed to activate preset: %d", ret);
			board_set_radio_state(BOARD_RADIO_STATE_ERROR);
			return ret;
		}
		return 0;

	default:
		LOG_WRN("Ignoring unknown request: %" PRIu8, req);
		return -EINVAL;
	}
}


int transport_handle_set(enum rfch_request req, uint16_t value,
			 const uint8_t *data, size_t size)
{
	struct rfch_packet *pkt = NULL;
	int ret;

	if (k_mem_slab_alloc(&packet_slab, (void **)&pkt, K_NO_WAIT)) {
		return -ENOMEM;
	}

	if (size >= sizeof(pkt->data)) {
		ret = -ENOMEM;
		goto out;
	}

	pkt->u.req.request = req;
	pkt->u.req.value = value;
	pkt->length = size;
	if (size) {
		memcpy(pkt->data, data, size);
	}

	ret = transport_validate_set(req, value, data, size);

out:
	if (ret < 0 && pkt) {
		k_mem_slab_free(&packet_slab, pkt);
	} else if (pkt) {
		k_fifo_put(&request_fifo, pkt);
	}

	return ret;
}

void transport_on_radio_rx(const uint8_t *data, size_t size)
{
	struct rfch_packet *pkt = NULL;

	LOG_DBG("size: %zd", size);
	if (size > RFCH_MAX_PACKET_SIZE) {
		LOG_ERR("Packet too large: %zd / %d",
			size, RFCH_MAX_PACKET_SIZE);
		board_radio_packet_error();
		return;
	}

	if (k_mem_slab_alloc(&packet_slab, (void **)&pkt, K_NO_WAIT)) {
		LOG_ERR("Dropping RX packet. Packet slab empty.");
		board_radio_packet_error();
		return;
	}

	pkt->length = size;
	memcpy(pkt->data, data, size);

	board_radio_packet();
	k_fifo_put(&rx_fifo, pkt);
}
```

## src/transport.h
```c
/*
 * SPDX-FileCopyrightText: Copyright 2024 Andreas Sandberg <andreas@sandberg.uk>
 *
 * SPDX-License-Identifier: Apache-2.0
 */

#ifndef RFCHAMELEON_TRANSPORT_H_
#define RFCHAMELEON_TRANSPORT_H_

#include <stdint.h>

#include <zephyr/sys/byteorder.h>

enum rfch_request {
	RFCH_REQ_GET_FW_VERSION = 0x00,
	RFCH_REQ_BOOTLOADER = 0x01,

	RFCH_REQ_SET_RX = 0x10,
	RFCH_REQ_PRESET_RX = 0x11,
	RFCH_REQ_TX = 0x20,

	RFCH_REQ_GET_RADIO_PRESET = 0x30,
	RFCH_REQ_ACTIVATE_RADIO_PRESET = 0x31,
};

enum rfch_bootloader_type {
	RFCH_BL_REBOOT = 0x00,
	RFCH_BL_ROM = 0x01,
	RFCH_BL_MCUBOOT = 0x02,
};

struct rfch_fw_version_info {
	uint8_t uuid[16];
	uint16_t major;
	uint16_t minor;
} __packed;

struct rfch_bootloader_info {
	uint8_t available;
};

struct rfch_radio_preset {
	uint8_t uuid[16];
	uint16_t packet_size;
	uint8_t rx_meta_size;
} __packed;

enum rfch_radio_state {
	RFCH_RADIO_STATE_IDLE = 0x00,
	RFCH_RADIO_STATE_RX = 0x01,
	RFCH_RADIO_STATE_TX = 0x02,

	RFCH_RADIO_STATE_ERROR = 0xff,
};

extern int transport_handle_get(enum rfch_request req, uint16_t value,
				const uint8_t **data, size_t size);

extern int transport_validate_set(enum rfch_request req, uint16_t value,
				  const uint8_t *data, size_t size);

extern int transport_execute_set(enum rfch_request req, uint16_t value,
				 const uint8_t *data, size_t size);

#endif /* RFCHAMELEON_TRANSPORT_H_ */
```
